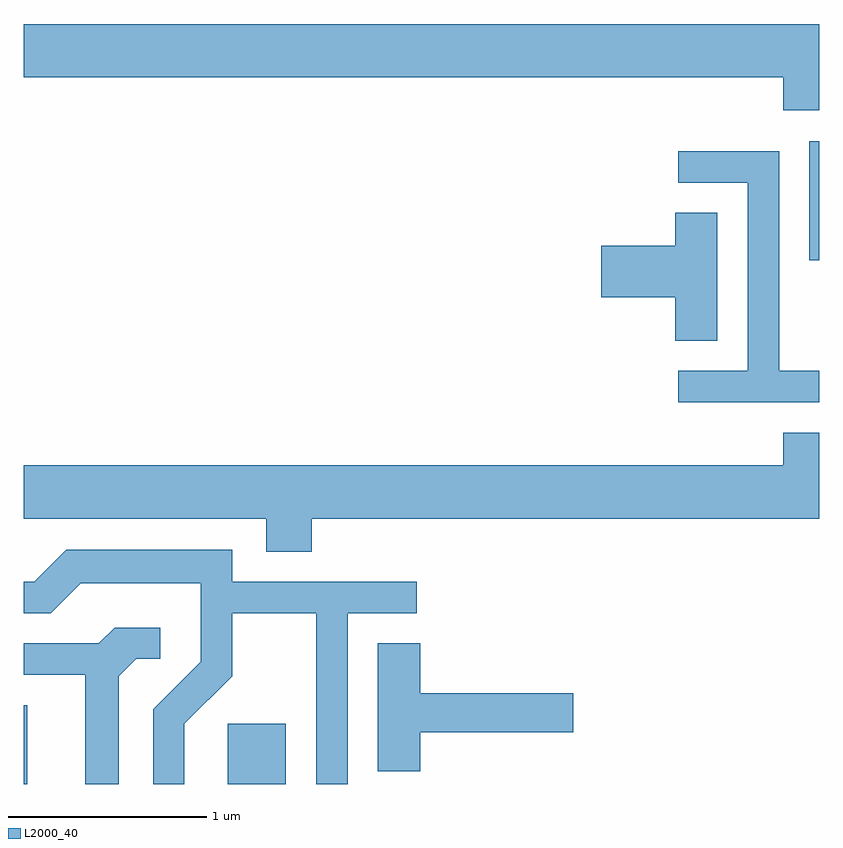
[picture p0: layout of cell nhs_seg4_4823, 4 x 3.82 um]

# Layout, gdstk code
import gdstk
lib = gdstk.Library(unit=1e-6, precision=1e-09)
def R(c, l, rs):  # rectangles x0, y0, x1, y1
    for r in rs: c.add(gdstk.rectangle(r[:2], r[2:], *l))
def P(c, l, *ps):  # polygons
    for p in ps: c.add(gdstk.Polygon(p, *l))
L2000_40 = (2000, 40)

nhs_seg4_4823 = lib.new_cell('nhs_seg4_4823')
R(nhs_seg4_4823, L2000_40, [(325.611,1379.982,325.629,1380.379), (326.636,1379.982,326.929,1380.284), (329.561,1382.616,329.611,1383.214)])
P(nhs_seg4_4823, L2000_40, [(329.611,1383.804),(325.611,1383.804),(325.611,1383.536),(329.431,1383.536),(329.431,1383.371),(329.611,1383.371)],
  [(329.611,1382.059),(329.409,1382.059),(329.409,1383.164),(328.903,1383.164),(328.903,1383.006),(329.251,1383.006),(329.251,1382.059),(328.903,1382.059),(328.903,1381.901),(329.611,1381.901)],
  [(329.099,1382.854),(328.886,1382.854),(328.886,1382.689),(328.516,1382.689),(328.516,1382.431),(328.886,1382.431),(328.886,1382.211),(329.099,1382.211)],
  [(327.059,1381.316),(329.611,1381.316),(329.611,1381.749),(329.431,1381.749),(329.431,1381.584),(325.611,1381.584),(325.611,1381.316),(326.831,1381.316),(326.831,1381.151),(327.059,1381.151)],
  [(326.419,1380.284),(326.659,1380.524),(326.659,1380.841),(327.081,1380.841),(327.081,1379.982),(327.239,1379.982),(327.239,1380.841),(327.588,1380.841),(327.588,1380.999),(326.659,1380.999),(326.659,1381.159),(325.824,1381.159),(325.664,1380.999),(325.611,1380.999),(325.611,1380.841),(325.747,1380.841),(325.897,1380.991),(326.501,1380.991),(326.501,1380.597),(326.261,1380.357),(326.261,1379.982),(326.419,1379.982)],
  [(326.089,1380.524),(326.177,1380.611),(326.298,1380.611),(326.298,1380.769),(326.069,1380.769),(325.989,1380.689),(325.611,1380.689),(325.611,1380.531),(325.921,1380.531),(325.921,1379.982),(326.089,1379.982)],
  [(327.604,1380.241),(328.374,1380.241),(328.374,1380.439),(327.604,1380.439),(327.604,1380.689),(327.391,1380.689),(327.391,1380.046),(327.604,1380.046)])

lib.write_gds('nhs_seg4_4823.gds')
